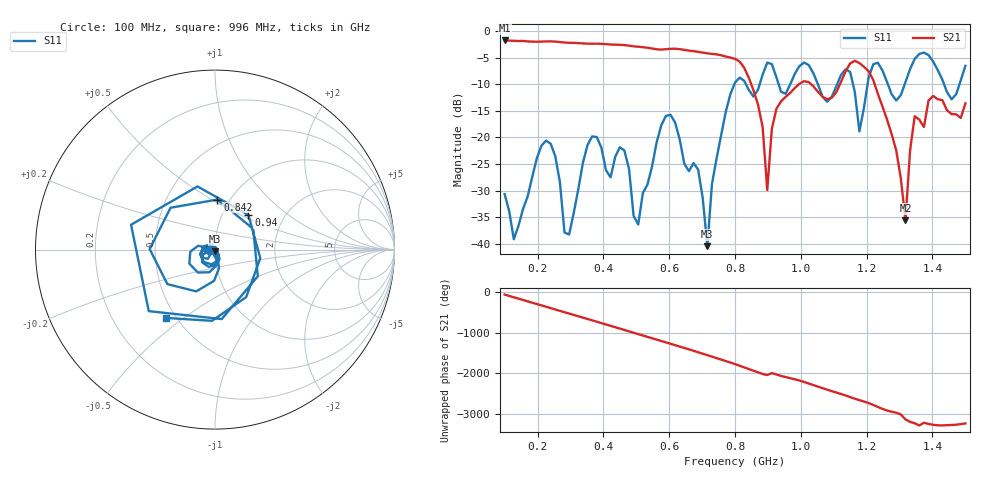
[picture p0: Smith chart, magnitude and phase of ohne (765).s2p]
! NanoVNA-App
! Date: 2025-09-25 14:26:45
! Start: 100MHz Stop: 1,5GHz Points: 101
! S-Parameter data: F S11 S21 S12 S22
# Hz S RI R 50
!  Frequency  S11_Real  S11_Imag  S21_Real  S21_Imag  S12_Real  S12_Imag  S22_Real  S22_Imag
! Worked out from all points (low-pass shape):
!   101 points, 100 MHz to 1.5 GHz, reference 50 ohm
!   highest |S21| = -1.79 dB at 100 MHz (marker M1); lowest = -35.6 dB at 1.318 GHz (marker M2)
!   |S21| within 3 dB of the highest: start of sweep to 770.9 MHz
!   lowest |S11| = -40.4 dB at 716 MHz (marker M3), VSWR 1.02, Z = 49.7 - j0.91 ohm
!   |S11| at or under -10 dB: start of sweep to 798 MHz; 833.1 MHz to 875.1 MHz (41.93 MHz wide, 4.91 % of centre); 1.052 GHz to 1.111 GHz (58.81 MHz wide, 5.44 % of centre) (the widest 3 of 7)
!   S12 and S22 are empty: the file has one direction only
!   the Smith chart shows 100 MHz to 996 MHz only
!   S11 on the Smith chart (normalised r, x): 100 MHz: 0.94, -0.01; 842 MHz: 0.88, +0.53; 940 MHz: 1.33, +0.55; 996 MHz: 0.44, -0.43
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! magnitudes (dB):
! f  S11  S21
! 100 MHz  -30.6  -1.8
! 128 MHz  -39.1  -1.9
! 226 MHz  -20.6  -2.0
! 296 MHz  -38.2  -2.2
! 338 MHz  -24.7  -2.3
! 464 MHz  -22.5  -2.7
! 506 MHz  -36.3  -3.0
! 576 MHz  -17.7  -3.5
! 688 MHz  -26.0  -3.9
! 716 MHz  -40.4  -4.2
! 800 MHz  -9.7  -5.3
! 842 MHz  -11.1  -8.8
! 898 MHz  -6.0  -29.9
! 940 MHz  -11.4  -13.2
! 996 MHz  -6.6  -9.9
! 1.038 GHz  -7.9  -10.4
! 1.178 GHz  -18.9  -6.0
! 1.22 GHz  -6.3  -9.2
! 1.276 GHz  -11.9  -19.4
! 1.318 GHz  -9.6  -35.6
! 1.346 GHz  -5.3  -16.0
! 1.5 GHz  -6.6  -13.6
